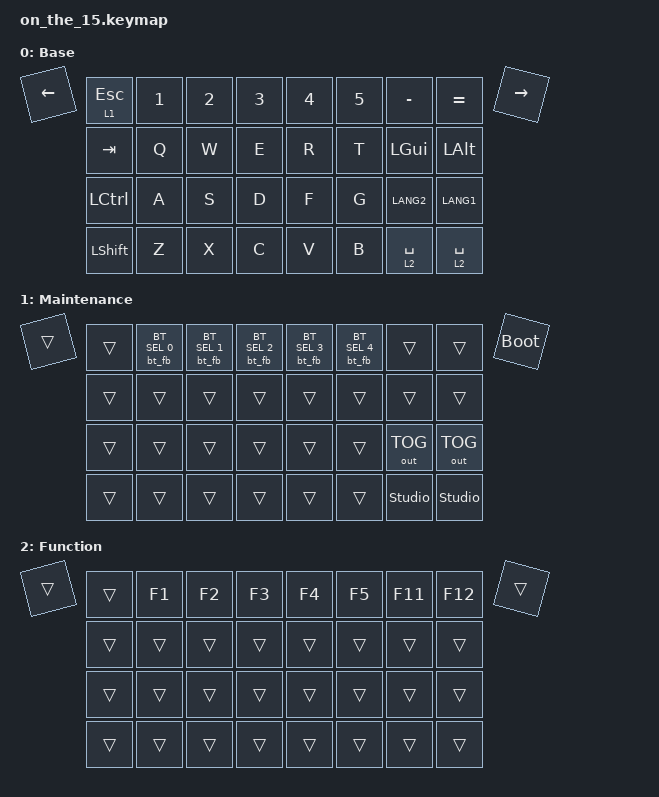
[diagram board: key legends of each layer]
/* Generic Studio-enabled stock keymap for a standalone x7/x8 half. */

#include <behaviors.dtsi>
#include <dt-bindings/zmk/bt.h>
#include <dt-bindings/zmk/keys.h>
#include <dt-bindings/zmk/outputs.h>

/ {
    behaviors {
        bt_fb: bluetooth_feedback {
            compatible = "onthe15,behavior-bt-feedback";
            #binding-cells = <2>;
            display-name = "Bluetooth Feedback";
        };
    };

    keymap {
        compatible = "zmk,keymap";

        default_layer {
            display-name = "Base";
            bindings = <
&lt 1 ESC  &kp N1     &kp N2 &kp N3 &kp N4 &kp N5 &kp MINUS &kp EQUAL
&kp TAB    &kp Q      &kp W  &kp E  &kp R  &kp T  &kp LGUI  &kp LALT
&kp LCTRL  &kp A      &kp S  &kp D  &kp F  &kp G  &kp LANG2 &kp LANG1
&kp LSHFT  &kp Z      &kp X  &kp C  &kp V  &kp B  &lt 2 SPACE &lt 2 SPACE
&kp RIGHT &kp LEFT
            >;
        };

        maintenance_layer: maintenance_layer {
            display-name = "Maintenance";
            bindings = <
&trans &bt_fb BT_SEL 0 &bt_fb BT_SEL 1 &bt_fb BT_SEL 2 &bt_fb BT_SEL 3 &bt_fb BT_SEL 4 &trans &trans
&trans &trans       &trans       &trans       &trans       &trans       &trans &trans
&trans &trans       &trans       &trans       &trans       &trans       &out OUT_TOG &out OUT_TOG
&trans &trans       &trans       &trans       &trans       &trans       &studio_unlock &studio_unlock
&bootloader &trans
            >;
        };

        function_layer {
            display-name = "Function";
            bindings = <
&trans &kp F1 &kp F2 &kp F3 &kp F4 &kp F5 &kp F11 &kp F12
&trans &trans &trans &trans &trans &trans &trans  &trans
&trans &trans &trans &trans &trans &trans &trans  &trans
&trans &trans &trans &trans &trans &trans &trans  &trans
&trans &trans
            >;
        };
    };
};
